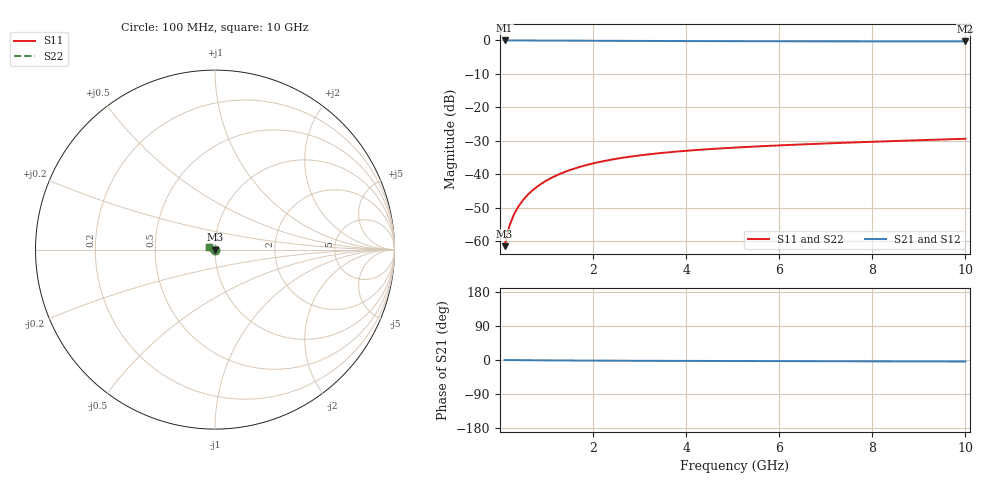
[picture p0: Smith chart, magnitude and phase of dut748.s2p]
! Touchstone file exported from HFSS 2024.1.0
!  File:  C:/UserFiles/LocalFiles/RDL_TSV_Batchsim/temp_TSV1_748_1779871004.aedt
!  Generated:  04:43:05 PM May 27, 2026
!  Design:  TSV1
!  Project:  temp_TSV1_748_1779871004
!  Setup:  Setup1
!  Solution:  Sweep
! Variables:
!  dtsv = 9.78um
!  hbump = 3um
!  htsv = 58.53um
!  lrdl = 252.1521522um
!  p = 40
!  p1 = 57.83um
!  t = 500um
!  trdl = 3um
!  wrdl = 24.89489489um
# GHz S MA R 50.000000
! Terminal data exported
! Port[1] = TSV22_T1
! Port[2] = TSV22_T2
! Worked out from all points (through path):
!   100 points, 100 MHz to 10 GHz, reference 50 ohm
!   highest |S21| = 0.00 dB at 100 MHz (marker M1); lowest = -0.3 dB at 10 GHz (marker M2)
!   lowest |S11| = -61.6 dB at 100 MHz (marker M3), VSWR 1.00, Z = 50 - j0.083 ohm
!   |S11| at or under -10 dB: start of sweep to end of sweep
!   |S22| runs from -61.6 to -29.4 dB; largest |S21 - S12| = 1.1e-14
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0.1  0.000835 -83.5  0.9998 -0.1  0.9998 -0.1  0.000835 -83.5
! Gamma 0 0 0 0
! Port Impedance 50 0 50 0
0.2  0.00166 -89.8  0.9997 -0.2  0.9997 -0.2  0.00166 -89.8
0.3  0.002487 -93.4  0.9996 -0.3  0.9996 -0.3  0.002487 -93.4
0.4  0.003309 -96.3  0.9993 -0.4  0.9993 -0.4  0.003309 -96.3
0.5  0.004123 -98.9  0.999 -0.5  0.999 -0.5  0.004123 -98.9
0.6  0.004927 -101.4  0.9987 -0.6  0.9987 -0.6  0.004927 -101.4
0.7  0.005719 -103.7  0.9983 -0.7  0.9983 -0.7  0.005719 -103.7
0.8  0.006498 -106.0  0.9979 -0.7  0.9979 -0.7  0.006498 -106.0
0.9  0.007261 -108.2  0.9974 -0.8  0.9974 -0.8  0.007261 -108.2
1.1  0.008738 -112.5  0.9963 -1.0  0.9963 -1.0  0.008738 -112.5
1.4  0.01082 -118.6  0.9944 -1.2  0.9944 -1.2  0.01082 -118.6
1.6  0.0121 -122.5  0.9931 -1.4  0.9931 -1.4  0.0121 -122.5
1.8  0.01331 -126.2  0.9917 -1.5  0.9917 -1.5  0.01331 -126.2
2.1  0.01498 -131.4  0.9897 -1.7  0.9897 -1.7  0.01498 -131.4
2.5  0.01694 -137.9  0.987 -1.9  0.987 -1.9  0.01694 -137.9
2.9  0.01865 -143.8  0.9844 -2.0  0.9844 -2.0  0.01865 -143.8
3.4  0.02048 -150.6  0.9816 -2.2  0.9816 -2.2  0.02048 -150.6
4.2  0.02287 -159.9  0.9778 -2.5  0.9778 -2.5  0.02287 -159.9
5.1  0.02504 -168.9  0.9745 -2.7  0.9745 -2.7  0.02504 -168.9
6.7  0.0282 178.2  0.9705 -3.2  0.9705 -3.2  0.0282 178.2
8.4  0.03114 167.2  0.9678 -3.6  0.9678 -3.6  0.03114 167.2
10  0.0338 158.8  0.9661 -4.1  0.9661 -4.1  0.03381 158.8
